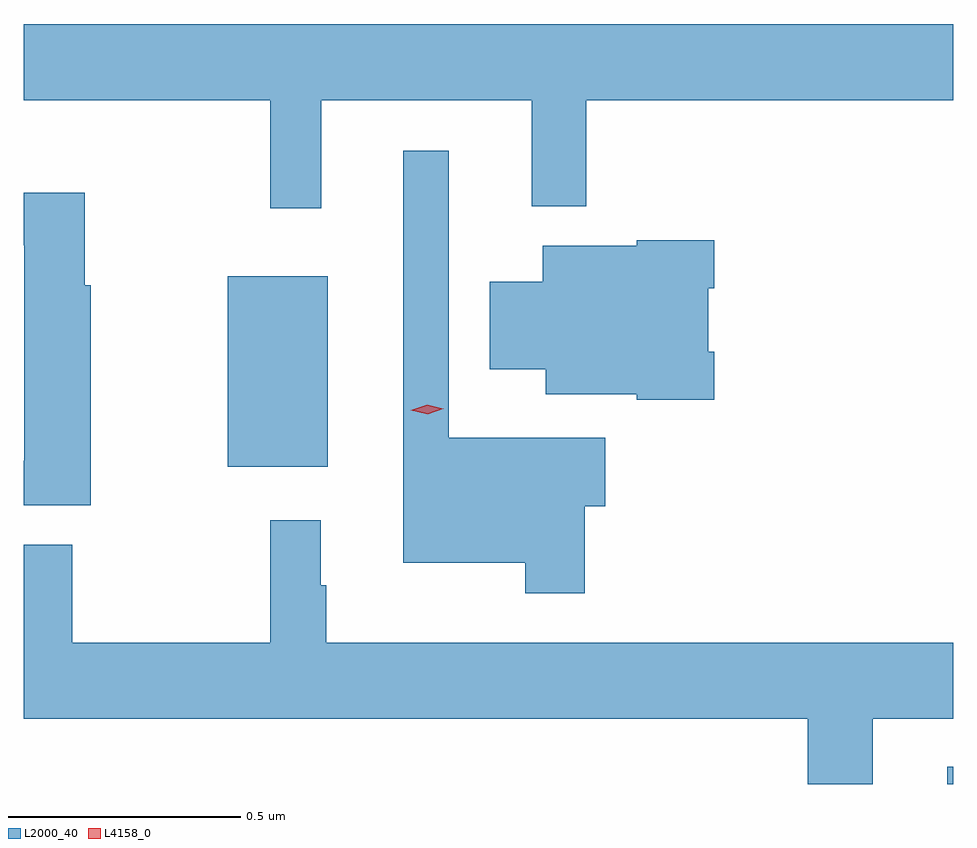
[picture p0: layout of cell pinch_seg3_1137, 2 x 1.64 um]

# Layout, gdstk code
import gdstk
lib = gdstk.Library(unit=1e-6, precision=1e-09)
def R(c, l, rs):  # rectangles x0, y0, x1, y1
    for r in rs: c.add(gdstk.rectangle(r[:2], r[2:], *l))
def P(c, l, *ps):  # polygons
    for p in ps: c.add(gdstk.Polygon(p, *l))
L2000_40 = (2000, 40)
L4158_0 = (4158, 0)

pinch_seg3_1137 = lib.new_cell('pinch_seg3_1137')
R(pinch_seg3_1137, L2000_40, [(336.068,746.064,336.081,746.101), (334.52,746.747,334.735,747.157)])
P(pinch_seg3_1137, L2000_40, [(334.721,747.536),(335.174,747.536),(335.174,747.308),(335.291,747.308),(335.291,747.536),(336.081,747.536),(336.081,747.7),(334.081,747.7),(334.081,747.536),(334.611,747.536),(334.611,747.303),(334.721,747.303)],
  [(335.288,746.662),(335.332,746.662),(335.332,746.809),(334.995,746.809),(334.995,747.427),(334.898,747.427),(334.898,746.54),(335.16,746.54),(335.16,746.475),(335.288,746.475)],
  [(334.225,747.138),(334.212,747.138),(334.212,747.337),(334.081,747.337),(334.081,747.224),(334.082,747.224),(334.082,746.76),(334.081,746.76),(334.081,746.664),(334.225,746.664)],
  [(335.567,746.995),(335.554,746.995),(335.554,747.131),(335.567,747.131),(335.567,747.235),(335.4,747.235),(335.4,747.223),(335.198,747.223),(335.198,747.145),(335.084,747.145),(335.084,746.957),(335.204,746.957),(335.204,746.903),(335.4,746.903),(335.4,746.891),(335.567,746.891)],
  [(335.908,746.204),(336.081,746.204),(336.081,746.368),(334.732,746.368),(334.732,746.492),(334.72,746.492),(334.72,746.632),(334.611,746.632),(334.611,746.368),(334.185,746.368),(334.185,746.579),(334.081,746.579),(334.081,746.204),(335.768,746.204),(335.768,746.064),(335.908,746.064)])
P(pinch_seg3_1137, L4158_0, [(334.95,746.86),(334.914,746.869),(334.914,746.869),(334.914,746.869),(334.949,746.88),(334.984,746.872),(334.985,746.872),(334.984,746.872)])

lib.write_gds('pinch_seg3_1137.gds')
